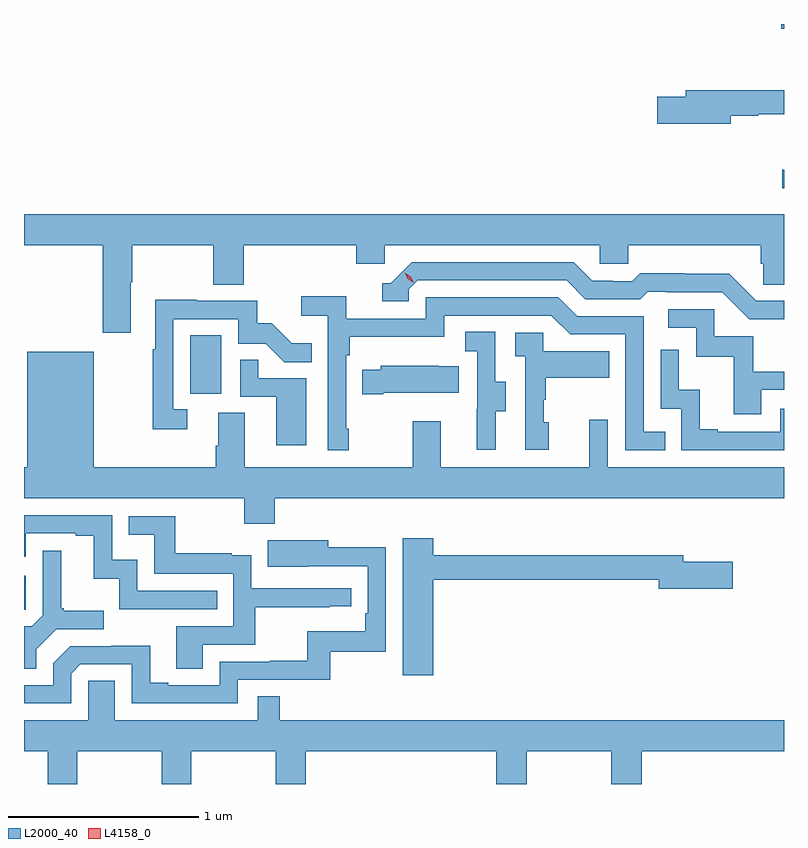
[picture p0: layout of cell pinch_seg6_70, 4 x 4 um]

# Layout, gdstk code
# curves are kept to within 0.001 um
import gdstk
lib = gdstk.Library(unit=1e-6, precision=1e-09)
def R(c, l, rs):  # rectangles x0, y0, x1, y1
    for r in rs: c.add(gdstk.rectangle(r[:2], r[2:], *l))
def P(c, l, *ps):  # polygons
    for p in ps: c.add(gdstk.Polygon(p, *l))
L2000_40 = (2000, 40)
L4158_0 = (4158, 0)

pinch_seg6_70 = lib.new_cell('pinch_seg6_70')
R(pinch_seg6_70, L2000_40, [(936.339,922.773,936.348,922.953), (937.214,923.91,937.378,924.217), (940.329,924.992,940.339,925.089), (940.325,925.83,940.339,925.856)])
P(pinch_seg6_70, L2000_40, [(940.06,925.372),(940.203,925.372),(940.203,925.38),(940.339,925.38),(940.339,925.508),(939.821,925.508),(939.821,925.472),(939.672,925.472),(939.672,925.33),(940.06,925.33)],
  [(936.901,924.496),(936.909,924.496),(936.909,924.692),(937.336,924.692),(937.336,924.484),(937.496,924.484),(937.496,924.692),(938.087,924.692),(938.087,924.594),(938.238,924.594),(938.238,924.692),(939.369,924.692),(939.369,924.594),(939.519,924.594),(939.519,924.692),(940.217,924.692),(940.217,924.594),(940.231,924.594),(940.231,924.484),(940.339,924.484),(940.339,924.856),(936.339,924.856),(936.339,924.692),(936.754,924.692),(936.754,924.231),(936.901,924.231)],
  [(940.339,924.399),(940.194,924.399),(940.052,924.541),(939.816,924.541),(939.816,924.544),(939.583,924.544),(939.541,924.501),(939.438,924.501),(939.438,924.504),(939.331,924.504),(939.232,924.603),(938.379,924.603),(938.268,924.492),(938.225,924.492),(938.225,924.396),(938.364,924.396),(938.364,924.459),(938.412,924.507),(939.195,924.507),(939.294,924.408),(939.583,924.408),(939.622,924.447),(939.721,924.447),(939.721,924.444),(940.014,924.444),(940.155,924.303),(940.339,924.303)],
  [(938.047,923.725),(938.034,923.725),(938.034,924.113),(938.054,924.113),(938.054,924.209),(938.55,924.209),(938.55,924.321),(939.114,924.321),(939.213,924.222),(939.504,924.222),(939.504,923.613),(939.713,923.613),(939.713,923.709),(939.6,923.709),(939.6,924.318),(939.25,924.318),(939.151,924.417),(938.454,924.417),(938.454,924.306),(938.036,924.306),(938.036,924.422),(937.797,924.422),(937.797,924.32),(937.938,924.32),(937.938,923.613),(938.047,923.613)],
  [(937.198,923.829),(937.125,923.829),(937.125,924.303),(937.467,924.303),(937.467,924.174),(937.611,924.174),(937.709,924.076),(937.853,924.076),(937.853,924.175),(937.749,924.175),(937.642,924.282),(937.566,924.282),(937.566,924.399),(937.247,924.399),(937.247,924.404),(937.029,924.404),(937.029,924.143),(937.017,924.143),(937.017,923.724),(937.198,923.724)],
  [(940.219,923.931),(940.339,923.931),(940.339,924.027),(940.177,924.027),(940.177,924.213),(939.972,924.213),(939.972,924.354),(939.729,924.354),(939.729,924.258),(939.876,924.258),(939.876,924.105),(940.075,924.105),(940.075,923.802),(940.219,923.802)],
  [(938.821,923.818),(938.875,923.818),(938.875,923.973),(938.82,923.973),(938.82,924.236),(938.661,924.236),(938.661,924.133),(938.724,924.133),(938.724,923.829),(938.723,923.829),(938.723,923.616),(938.821,923.616)],
  [(939.1,923.76),(939.075,923.76),(939.075,923.879),(939.085,923.879),(939.085,923.993),(939.419,923.993),(939.419,924.133),(939.072,924.133),(939.072,924.231),(938.925,924.231),(938.925,924.107),(938.976,924.107),(938.976,923.616),(939.1,923.616)],
  [(940.339,923.832),(940.32,923.832),(940.32,923.709),(939.991,923.709),(939.991,923.722),(939.896,923.722),(939.896,923.93),(939.786,923.93),(939.786,924.142),(939.69,924.142),(939.69,923.832),(939.798,923.832),(939.798,923.613),(940.339,923.613)],
  [(940.339,923.524),(939.411,923.524),(939.411,923.773),(939.314,923.773),(939.314,923.524),(938.533,923.524),(938.533,923.764),(938.386,923.764),(938.386,923.524),(937.501,923.524),(937.501,923.81),(937.361,923.81),(937.361,923.636),(937.349,923.636),(937.349,923.524),(936.706,923.524),(936.706,924.13),(936.356,924.13),(936.356,923.524),(936.339,923.524),(936.339,923.36),(937.498,923.36),(937.498,923.225),(937.658,923.225),(937.658,923.36),(940.339,923.36)],
  [(937.825,923.991),(937.571,923.991),(937.571,924.089),(937.476,924.089),(937.476,923.895),(937.667,923.895),(937.667,923.64),(937.825,923.64)],
  [(938.23,923.915),(938.627,923.915),(938.627,924.055),(938.519,924.055),(938.519,924.058),(938.217,924.058),(938.217,924.037),(938.119,924.037),(938.119,923.908),(938.23,923.908)],
  [(937.355,922.872),(936.936,922.872),(936.936,923.035),(936.804,923.035),(936.804,923.271),(936.339,923.271),(936.339,923.052),(936.348,923.052),(936.348,923.175),(936.611,923.175),(936.611,923.163),(936.707,923.163),(936.707,922.937),(936.84,922.937),(936.84,922.776),(937.355,922.776)],
  [(937.279,922.59),(937.556,922.59),(937.556,922.786),(937.949,922.786),(937.949,922.791),(938.062,922.791),(938.062,922.887),(937.536,922.887),(937.536,923.059),(937.433,923.059),(937.433,923.071),(937.135,923.071),(937.135,923.265),(936.889,923.265),(936.889,923.168),(937.024,923.168),(937.024,922.962),(937.44,922.962),(937.44,922.686),(937.139,922.686),(937.139,922.462),(937.279,922.462)],
  [(938.494,922.93),(939.68,922.93),(939.68,922.883),(940.069,922.883),(940.069,923.025),(939.808,923.025),(939.808,923.059),(938.494,923.059),(938.494,923.149),(938.333,923.149),(938.333,922.428),(938.494,922.428)],
  [(936.588,922.437),(936.636,922.485),(936.906,922.485),(936.906,922.281),(937.464,922.281),(937.464,922.404),(937.951,922.404),(937.951,922.551),(938.244,922.551),(938.244,923.102),(937.939,923.102),(937.939,923.14),(937.621,923.14),(937.621,923),(938.148,923.001),(938.148,922.756),(938.135,922.756),(938.135,922.66),(937.83,922.66),(937.83,922.505),(937.633,922.505),(937.633,922.5),(937.368,922.5),(937.368,922.377),(937.099,922.377),(937.099,922.39),(937.003,922.39),(937.003,922.583),(936.798,922.583),(936.798,922.581),(936.582,922.581),(936.492,922.491),(936.492,922.377),(936.339,922.377),(936.339,922.281),(936.588,922.281)],
  [(936.403,922.564),(936.51,922.671),(936.76,922.671),(936.76,922.768),(936.547,922.768),(936.547,922.78),(936.535,922.78),(936.535,923.083),(936.438,923.083),(936.438,922.743),(936.381,922.686),(936.339,922.686),(936.339,922.462),(936.403,922.462)],
  [(937.685,922.319),(937.569,922.319),(937.569,922.192),(936.817,922.192),(936.817,922.4),(936.678,922.4),(936.678,922.192),(936.339,922.192),(936.339,922.028),(936.463,922.028),(936.463,921.856),(936.618,921.856),(936.618,922.028),(937.063,922.028),(937.063,921.856),(937.218,921.856),(937.218,922.028),(937.663,922.028),(937.663,921.856),(937.823,921.856),(937.823,922.028),(938.825,922.028),(938.825,921.856),(938.985,921.856),(938.985,922.028),(939.43,922.028),(939.43,921.856),(939.59,921.856),(939.59,922.028),(940.339,922.028),(940.339,922.192),(937.685,922.192)])
P(pinch_seg6_70, L4158_0, [(938.389,924.494),(938.359,924.514),(938.343,924.547),(938.343,924.547),(938.344,924.547),(938.374,924.527),(938.389,924.495),(938.389,924.494)])

lib.write_gds('pinch_seg6_70.gds')
